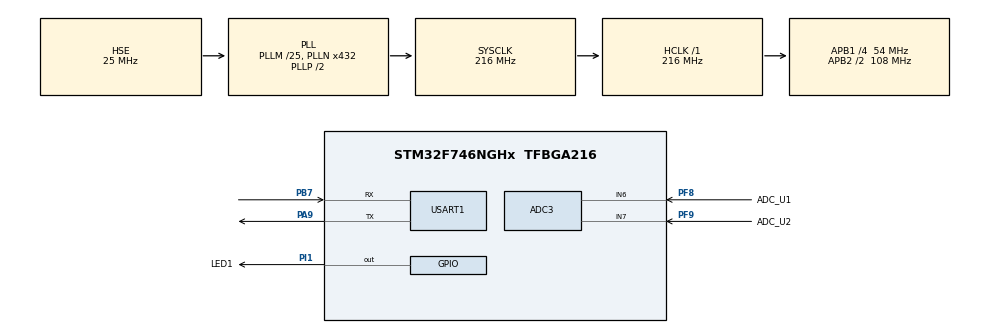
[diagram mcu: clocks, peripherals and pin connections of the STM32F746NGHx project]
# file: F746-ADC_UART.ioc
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ADC3.Channel-1\#ChannelRegularConversion=ADC_CHANNEL_6
ADC3.Channel-4\#ChannelRegularConversion=ADC_CHANNEL_7
ADC3.ContinuousConvMode=ENABLE
ADC3.DMAContinuousRequests=ENABLE
ADC3.EOCSelection=ADC_EOC_SEQ_CONV
ADC3.InjNumberOfConversion=0
ADC3.NbrOfConversion=2
ADC3.NbrOfConversionFlag=1
ADC3.Rank-1\#ChannelRegularConversion=1
ADC3.Rank-4\#ChannelRegularConversion=2
ADC3.SamplingTime-1\#ChannelRegularConversion=ADC_SAMPLETIME_480CYCLES
ADC3.SamplingTime-4\#ChannelRegularConversion=ADC_SAMPLETIME_480CYCLES
ADC3.ScanConvMode=ADC_SCAN_ENABLE
CRC.InputDataFormat=CRC_INPUTDATA_FORMAT_WORDS
Dma.ADC3.0.Direction=DMA_PERIPH_TO_MEMORY
Dma.ADC3.0.FIFOMode=DMA_FIFOMODE_ENABLE
Dma.ADC3.0.FIFOThreshold=DMA_FIFO_THRESHOLD_HALFFULL
Dma.ADC3.0.Instance=DMA2_Stream0
Dma.ADC3.0.MemBurst=DMA_MBURST_SINGLE
Dma.ADC3.0.MemDataAlignment=DMA_MDATAALIGN_HALFWORD
Dma.ADC3.0.MemInc=DMA_MINC_ENABLE
Dma.ADC3.0.Mode=DMA_CIRCULAR
Dma.ADC3.0.PeriphBurst=DMA_PBURST_SINGLE
Dma.ADC3.0.PeriphDataAlignment=DMA_PDATAALIGN_HALFWORD
Dma.ADC3.0.PeriphInc=DMA_PINC_DISABLE
Dma.ADC3.0.Priority=DMA_PRIORITY_MEDIUM
Dma.Request0=ADC3
Mcu.Family=STM32F7
Mcu.Name=STM32F746NGHx
Mcu.Package=TFBGA216
NVIC.DMA2_Stream0_IRQn=true\:0\:0\:false\:false\:true\:false\:true\:true
NVIC.PriorityGroup=NVIC_PRIORITYGROUP_4
NVIC.USART1_IRQn=true\:0\:0\:false\:false\:true\:true\:true\:true
PA13.Mode=Serial_Wire
PA13.Signal=SYS_JTMS-SWDIO
PA14.Mode=Serial_Wire
PA14.Signal=SYS_JTCK-SWCLK
PA9.Mode=Asynchronous
PA9.Signal=USART1_TX
PB7.Mode=Asynchronous
PB7.Signal=USART1_RX
PF8.GPIO_Label=ADC_U1
PF8.Mode=IN6
PF8.Signal=ADC3_IN6
PF9.GPIO_Label=ADC_U2
PF9.Mode=IN7
PF9.Signal=ADC3_IN7
PH0/OSC_IN.Mode=HSE-External-Oscillator
PH0/OSC_IN.Signal=RCC_OSC_IN
PH1/OSC_OUT.Mode=HSE-External-Oscillator
PH1/OSC_OUT.Signal=RCC_OSC_OUT
PI1.GPIO_Label=LED1
PI1.Signal=GPIO_Output
ProjectManager.HeapSize=0x200
ProjectManager.StackSize=0x400
ProjectManager.TargetToolchain=STM32CubeIDE
RCC.AHBFreq_Value=216000000
RCC.APB1CLKDivider=RCC_HCLK_DIV4
RCC.APB1Freq_Value=54000000
RCC.APB1TimFreq_Value=108000000
RCC.APB2CLKDivider=RCC_HCLK_DIV2
RCC.APB2Freq_Value=108000000
RCC.APB2TimFreq_Value=216000000
RCC.CortexFreq_Value=216000000
RCC.HCLKFreq_Value=216000000
RCC.HSE_VALUE=25000000
RCC.HSI_VALUE=16000000
RCC.LSE_VALUE=32768
RCC.PLLM=25
RCC.PLLN=432
RCC.PLLSourceVirtual=RCC_PLLSOURCE_HSE
RCC.RTCClockSelection=RCC_RTCCLKSOURCE_LSE
RCC.SYSCLKFreq_VALUE=216000000
RCC.SYSCLKSource=RCC_SYSCLKSOURCE_PLLCLK
RCC.USBFreq_Value=216000000
RCC.VCOOutputFreq_Value=432000000
USART1.VirtualMode-Asynchronous=VM_ASYNC
VP_CRC_VS_CRC.Mode=CRC_Activate
board=custom

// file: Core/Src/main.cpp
/* USER CODE BEGIN Header */
/**
  ******************************************************************************
  * @file           : main.c
  * @brief          : Main program body
  ******************************************************************************
  * @attention
  *
  * Copyright (c) 2024 STMicroelectronics.
  * All rights reserved.
  *
  * This software is licensed under terms that can be found in the LICENSE file
  * in the root directory of this software component.
  * If no LICENSE file comes with this software, it is provided AS-IS.
  *
  ******************************************************************************
  */
/* USER CODE END Header */
#include "main.h"

/* USER CODE BEGIN Includes */
#include "xuart_stream.h"
#include "xprintf.h"
#include "adc_conv.h"
#include "memory.h"
/* USER CODE END Includes */

ADC_HandleTypeDef hadc3;
DMA_HandleTypeDef hdma_adc3;

CRC_HandleTypeDef hcrc;

UART_HandleTypeDef huart1;

void SystemClock_Config(void);
static void MX_GPIO_Init(void);
static void MX_DMA_Init(void);
static void MX_USART1_UART_Init(void);
static void MX_ADC3_Init(void);
static void MX_CRC_Init(void);

int main(void)
{

  /* MCU Configuration--------------------------------------------------------*/

  /* Reset of all peripherals, Initializes the Flash interface and the Systick. */
  HAL_Init();

  /* Configure the system clock */
  SystemClock_Config();

  /* Initialize all configured peripherals */
  MX_GPIO_Init();
  MX_DMA_Init();
  MX_USART1_UART_Init();
  MX_ADC3_Init();
  MX_CRC_Init();
  /* USER CODE BEGIN 2 */
  xuart_stream::get_instance().init(huart1);
  const auto adc3 = adc_conv(hadc3);

  const memory memory(flash_t::addr::ADDR_FLASH_SECTOR_7, hcrc);
  data_t full_data[k_default_val_length] = {};
  const memory::status result = memory.read_data_from_flash(full_data);
  xprintf("Memory read status: %s\r", result == memory::status::READ_OK ? "from FLASH" : "DEFAULT");

  uint16_t u_min[adc_conv::channels_num];
  uint16_t u_max[adc_conv::channels_num];
  for (auto& [index, value] : full_data)
  {
    switch (index)
    {
      case data_t::idx::U0_MIN:
        u_min[0] = value;
        break;
      case data_t::idx::U0_MAX:
        u_max[0] = value;
        break;
      case data_t::idx::U1_MIN:
        u_min[1] = value;
        break;
      case data_t::idx::U1_MAX:
        u_max[1] = value;
        break;
    }
  }

  uint16_t range[adc_conv::channels_num];
  for (size_t i = 0; i < adc_conv::channels_num; ++i)
  {
    range[i] = u_max[i] - u_min[i];
  }

  uint16_t adc_data_in_percent[adc_conv::channels_num];
  /* USER CODE END 2 */

  /* Infinite loop */
  /* USER CODE BEGIN WHILE */
  while (true)
  {
    for (size_t i = 0; i < adc_conv::channels_num; ++i)
    {
      if (const uint16_t adc3_value = adc3.get_adc_data(i);
          adc3_value <= u_min[i])
      {
        adc_data_in_percent[i] = 0;
      }
      else if (adc3_value >= u_max[i])
      {
        adc_data_in_percent[i] = 10000;
      }
      else
      {
        adc_data_in_percent[i] = static_cast<uint16_t>(static_cast<uint32_t>(adc3_value - u_min[i]) * 10000 / range[i]);
      }
    }

    xprintf("PF8: %3u.%02u%%; PF9: %3u.%02u%%\r",
      adc_data_in_percent[0] / 100,
      adc_data_in_percent[0] % 100,
      adc_data_in_percent[1] / 100,
      adc_data_in_percent[1] % 100);
    HAL_Delay(500);
    /* USER CODE END WHILE */

  }
}

void SystemClock_Config(void)
{
  RCC_OscInitTypeDef RCC_OscInitStruct = {0};
  RCC_ClkInitTypeDef RCC_ClkInitStruct = {0};

  /** Configure the main internal regulator output voltage
  */
  __HAL_RCC_PWR_CLK_ENABLE();
  __HAL_PWR_VOLTAGESCALING_CONFIG(PWR_REGULATOR_VOLTAGE_SCALE1);

  /** Initializes the RCC Oscillators according to the specified parameters
  * in the RCC_OscInitTypeDef structure.
  */
  RCC_OscInitStruct.OscillatorType = RCC_OSCILLATORTYPE_HSE;
  RCC_OscInitStruct.HSEState = RCC_HSE_ON;
  RCC_OscInitStruct.PLL.PLLState = RCC_PLL_ON;
  RCC_OscInitStruct.PLL.PLLSource = RCC_PLLSOURCE_HSE;
  RCC_OscInitStruct.PLL.PLLM = 25;
  RCC_OscInitStruct.PLL.PLLN = 432;
  RCC_OscInitStruct.PLL.PLLP = RCC_PLLP_DIV2;
  RCC_OscInitStruct.PLL.PLLQ = 2;
  if (HAL_RCC_OscConfig(&RCC_OscInitStruct) != HAL_OK)
  {
    Error_Handler();
  }

  /** Activate the Over-Drive mode
  */
  if (HAL_PWREx_EnableOverDrive() != HAL_OK)
  {
    Error_Handler();
  }

  /** Initializes the CPU, AHB and APB buses clocks
  */
  RCC_ClkInitStruct.ClockType = RCC_CLOCKTYPE_HCLK|RCC_CLOCKTYPE_SYSCLK
                              |RCC_CLOCKTYPE_PCLK1|RCC_CLOCKTYPE_PCLK2;
  RCC_ClkInitStruct.SYSCLKSource = RCC_SYSCLKSOURCE_PLLCLK;
  RCC_ClkInitStruct.AHBCLKDivider = RCC_SYSCLK_DIV1;
  RCC_ClkInitStruct.APB1CLKDivider = RCC_HCLK_DIV4;
  RCC_ClkInitStruct.APB2CLKDivider = RCC_HCLK_DIV2;

  if (HAL_RCC_ClockConfig(&RCC_ClkInitStruct, FLASH_LATENCY_7) != HAL_OK)
  {
    Error_Handler();
  }
}

static void MX_ADC3_Init(void)
{

  ADC_ChannelConfTypeDef sConfig = {0};

  /** Configure the global features of the ADC (Clock, Resolution, Data Alignment and number of conversion)
  */
  hadc3.Instance = ADC3;
  hadc3.Init.ClockPrescaler = ADC_CLOCK_SYNC_PCLK_DIV4;
  hadc3.Init.Resolution = ADC_RESOLUTION_12B;
  hadc3.Init.ScanConvMode = ADC_SCAN_ENABLE;
  hadc3.Init.ContinuousConvMode = ENABLE;
  hadc3.Init.DiscontinuousConvMode = DISABLE;
  hadc3.Init.ExternalTrigConvEdge = ADC_EXTERNALTRIGCONVEDGE_NONE;
  hadc3.Init.ExternalTrigConv = ADC_SOFTWARE_START;
  hadc3.Init.DataAlign = ADC_DATAALIGN_RIGHT;
  hadc3.Init.NbrOfConversion = 2;
  hadc3.Init.DMAContinuousRequests = ENABLE;
  hadc3.Init.EOCSelection = ADC_EOC_SEQ_CONV;
  if (HAL_ADC_Init(&hadc3) != HAL_OK)
  {
    Error_Handler();
  }

  /** Configure for the selected ADC regular channel its corresponding rank in the sequencer and its sample time.
  */
  sConfig.Channel = ADC_CHANNEL_6;
  sConfig.Rank = ADC_REGULAR_RANK_1;
  sConfig.SamplingTime = ADC_SAMPLETIME_480CYCLES;
  if (HAL_ADC_ConfigChannel(&hadc3, &sConfig) != HAL_OK)
  {
    Error_Handler();
  }

  /** Configure for the selected ADC regular channel its corresponding rank in the sequencer and its sample time.
  */
  sConfig.Channel = ADC_CHANNEL_7;
  sConfig.Rank = ADC_REGULAR_RANK_2;
  if (HAL_ADC_ConfigChannel(&hadc3, &sConfig) != HAL_OK)
  {
    Error_Handler();
  }

}

static void MX_CRC_Init(void)
{

  hcrc.Instance = CRC;
  hcrc.Init.DefaultPolynomialUse = DEFAULT_POLYNOMIAL_ENABLE;
  hcrc.Init.DefaultInitValueUse = DEFAULT_INIT_VALUE_ENABLE;
  hcrc.Init.InputDataInversionMode = CRC_INPUTDATA_INVERSION_NONE;
  hcrc.Init.OutputDataInversionMode = CRC_OUTPUTDATA_INVERSION_DISABLE;
  hcrc.InputDataFormat = CRC_INPUTDATA_FORMAT_WORDS;
  if (HAL_CRC_Init(&hcrc) != HAL_OK)
  {
    Error_Handler();
  }

}

static void MX_USART1_UART_Init(void)
{

  huart1.Instance = USART1;
  huart1.Init.BaudRate = 115200;
  huart1.Init.WordLength = UART_WORDLENGTH_8B;
  huart1.Init.StopBits = UART_STOPBITS_1;
  huart1.Init.Parity = UART_PARITY_NONE;
  huart1.Init.Mode = UART_MODE_TX_RX;
  huart1.Init.HwFlowCtl = UART_HWCONTROL_NONE;
  huart1.Init.OverSampling = UART_OVERSAMPLING_16;
  huart1.Init.OneBitSampling = UART_ONE_BIT_SAMPLE_DISABLE;
  huart1.AdvancedInit.AdvFeatureInit = UART_ADVFEATURE_NO_INIT;
  if (HAL_UART_Init(&huart1) != HAL_OK)
  {
    Error_Handler();
  }

}

static void MX_DMA_Init(void)
{

  /* DMA controller clock enable */
  __HAL_RCC_DMA2_CLK_ENABLE();

  /* DMA interrupt init */
  /* DMA2_Stream0_IRQn interrupt configuration */
  HAL_NVIC_SetPriority(DMA2_Stream0_IRQn, 0, 0);
  HAL_NVIC_EnableIRQ(DMA2_Stream0_IRQn);

}

static void MX_GPIO_Init(void)
{
  GPIO_InitTypeDef GPIO_InitStruct = {0};

  /* GPIO Ports Clock Enable */
  __HAL_RCC_GPIOA_CLK_ENABLE();
  __HAL_RCC_GPIOB_CLK_ENABLE();
  __HAL_RCC_GPIOI_CLK_ENABLE();
  __HAL_RCC_GPIOH_CLK_ENABLE();
  __HAL_RCC_GPIOF_CLK_ENABLE();

  /*Configure GPIO pin Output Level */
  HAL_GPIO_WritePin(LED1_GPIO_Port, LED1_Pin, GPIO_PIN_RESET);

  /*Configure GPIO pin : LED1_Pin */
  GPIO_InitStruct.Pin = LED1_Pin;
  GPIO_InitStruct.Mode = GPIO_MODE_OUTPUT_PP;
  GPIO_InitStruct.Pull = GPIO_NOPULL;
  GPIO_InitStruct.Speed = GPIO_SPEED_FREQ_LOW;
  HAL_GPIO_Init(LED1_GPIO_Port, &GPIO_InitStruct);

}

void Error_Handler(void)
{
  /* USER CODE BEGIN Error_Handler_Debug */
  /* User can add his own implementation to report the HAL error return state */
  __disable_irq();
  while (true)
  {
  }
  /* USER CODE END Error_Handler_Debug */
}
